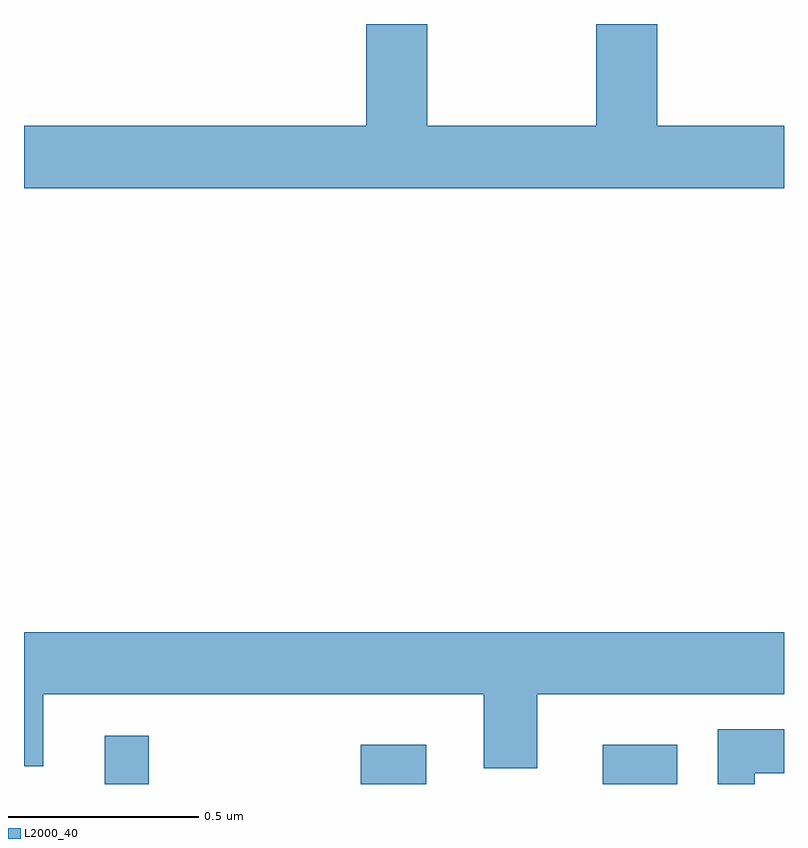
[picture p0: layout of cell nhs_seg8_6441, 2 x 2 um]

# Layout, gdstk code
import gdstk
lib = gdstk.Library(unit=1e-6, precision=1e-09)
def R(c, l, rs):  # rectangles x0, y0, x1, y1
    for r in rs: c.add(gdstk.rectangle(r[:2], r[2:], *l))
def P(c, l, *ps):  # polygons
    for p in ps: c.add(gdstk.Polygon(p, *l))
L2000_40 = (2000, 40)

nhs_seg8_6441 = lib.new_cell('nhs_seg8_6441')
R(nhs_seg8_6441, L2000_40, [(196.212,1146.9,196.328,1147.027), (196.886,1146.9,197.059,1147.003), (197.523,1146.9,197.719,1147.003)])
P(nhs_seg8_6441, L2000_40, [(198,1148.632),(197.666,1148.632),(197.666,1148.9),(197.506,1148.9),(197.506,1148.632),(197.061,1148.632),(197.061,1148.9),(196.901,1148.9),(196.901,1148.632),(196,1148.632),(196,1148.468),(198,1148.468)],
  [(197.35,1147.136),(198,1147.136),(198,1147.3),(196,1147.3),(196,1146.947),(196.051,1146.947),(196.051,1147.136),(197.21,1147.136),(197.21,1146.942),(197.35,1146.942)],
  [(197.923,1146.928),(198,1146.928),(198,1147.044),(197.826,1147.044),(197.826,1146.9),(197.923,1146.9)])

lib.write_gds('nhs_seg8_6441.gds')
